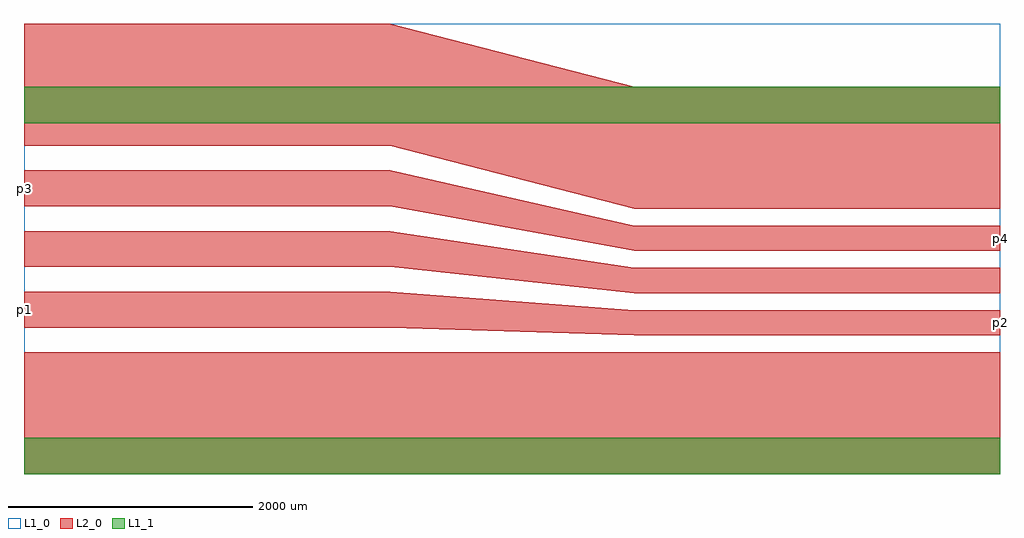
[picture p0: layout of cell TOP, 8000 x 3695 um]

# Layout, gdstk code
import gdstk
lib = gdstk.Library(unit=1e-6, precision=1e-09)
def R(c, l, rs):  # rectangles x0, y0, x1, y1
    for r in rs: c.add(gdstk.rectangle(r[:2], r[2:], *l))
def A(c, l, x, y, w, h, nx, ny, dx, dy):  # array of equal rectangles
    R(c, l, [(x+i*dx, y+j*dy, x+i*dx+w, y+j*dy+h) for i in range(nx) for j in range(ny)])
def P(c, l, *ps):  # polygons
    for p in ps: c.add(gdstk.Polygon(p, *l))
L1_0 = (1, 0)
L1_1 = (1, 1)
L2_0 = (2, 0)

top = lib.new_cell('TOP')
R(top, L1_0, [(0,0,8000,3695)])
R(top, L1_1, [(0,0,8000,300), (0,2878,3000,3178), (3000,2878,5000,3178), (5000,2878,8000,3178)])
A(top, L2_0, 5000, 1140, 3000, 206, 1, 3, 0, 346)
A(top, L2_0, 0, 1204, 3000, 293, 1, 3, 0, 497)
R(top, L2_0, [(0,0,8000,1000), (5000,2178,8000,3178), (0,2695,3000,3695)])
P(top, L2_0, [(5000,1140),(3000,1204),(3000,1497),(5000,1346)],
  [(5000,1486),(3000,1701),(3000,1994),(5000,1692)],
  [(5000,1832),(3000,2198),(3000,2491),(5000,2038)],
  [(5000,2178),(3000,2695),(3000,3695),(5000,3178)])
top.add(gdstk.Label('p1', (0,1350), layer=10, texttype=0))
top.add(gdstk.Label('p2', (8000,1243), layer=10, texttype=0))
top.add(gdstk.Label('p3', (0,2344), layer=10, texttype=0))
top.add(gdstk.Label('p4', (8000,1935), layer=10, texttype=0))

lib.write_gds('TOP.gds')
